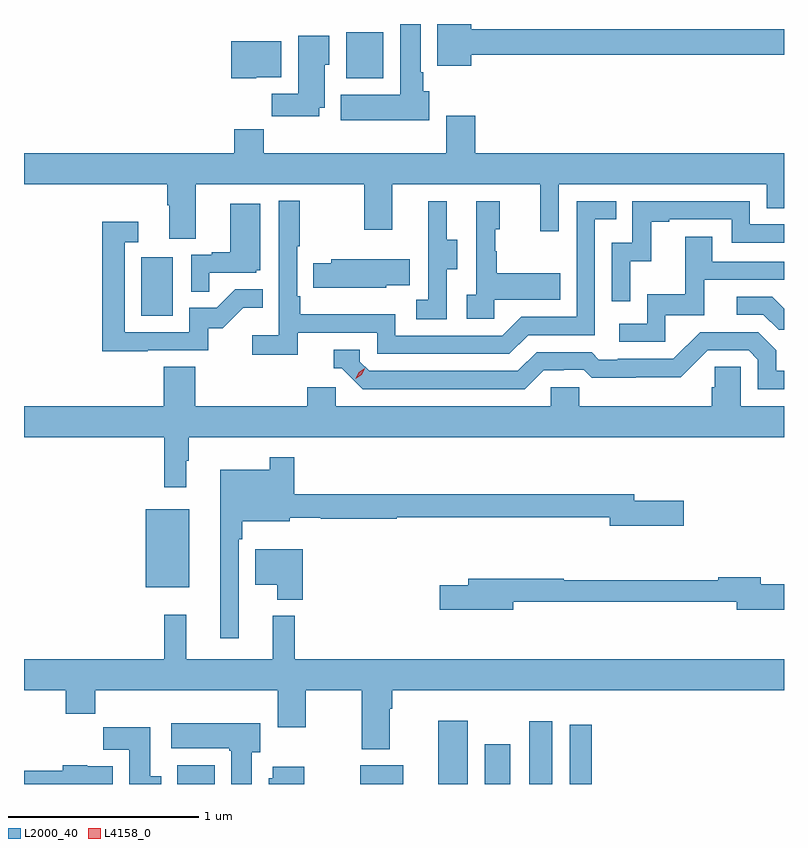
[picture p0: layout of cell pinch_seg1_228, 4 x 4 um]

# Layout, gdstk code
import gdstk
lib = gdstk.Library(unit=1e-6, precision=1e-09)
def R(c, l, rs):  # rectangles x0, y0, x1, y1
    for r in rs: c.add(gdstk.rectangle(r[:2], r[2:], *l))
def P(c, l, *ps):  # polygons
    for p in ps: c.add(gdstk.Polygon(p, *l))
L2000_40 = (2000, 40)
L4158_0 = (4158, 0)

pinch_seg1_228 = lib.new_cell('pinch_seg1_228')
R(pinch_seg1_228, L2000_40, [(964.709,565.891,964.906,565.99), (965.672,565.891,965.899,565.99), (966.083,565.891,966.238,566.224), (966.326,565.891,966.46,566.101), (966.56,565.891,966.682,566.221), (966.774,565.891,966.89,566.203), (964.544,566.927,964.771,567.337), (964.52,568.356,964.684,568.663), (965.597,569.606,965.794,569.848)])
P(pinch_seg1_228, L2000_40, [(966.034,569.538),(966.004,569.538),(966.004,569.638),(965.989,569.638),(965.989,569.891),(965.882,569.891),(965.882,569.518),(965.57,569.518),(965.57,569.384),(966.034,569.384)],
  [(966.256,569.728),(967.902,569.728),(967.902,569.864),(966.256,569.864),(966.256,569.891),(966.077,569.891),(966.077,569.672),(966.256,569.672)],
  [(965.455,569.45),(965.485,569.45),(965.485,569.676),(965.509,569.676),(965.509,569.83),(965.345,569.83),(965.345,569.524),(965.206,569.524),(965.206,569.406),(965.455,569.406)],
  [(965.124,569.612),(965.257,569.612),(965.257,569.8),(964.994,569.8),(964.994,569.606),(965.124,569.606)],
  [(965.165,569.336),(965.009,569.336),(965.009,569.212),(963.902,569.212),(963.902,569.048),(964.655,569.048),(964.655,568.936),(964.667,568.936),(964.667,568.762),(964.807,568.762),(964.807,569.048),(965.692,569.048),(965.692,568.809),(965.839,568.809),(965.839,569.048),(966.62,569.048),(966.62,568.8),(966.717,568.8),(966.717,569.048),(967.812,569.048),(967.812,568.921),(967.902,568.921),(967.902,569.212),(966.278,569.212),(966.278,569.407),(966.125,569.407),(966.125,569.212),(965.165,569.212)],
  [(965.342,568.266),(965.76,568.266),(965.76,568.155),(966.457,568.155),(966.556,568.254),(966.906,568.254),(966.906,568.863),(967.019,568.863),(967.019,568.959),(966.81,568.959),(966.81,568.35),(966.519,568.35),(966.42,568.251),(965.856,568.251),(965.856,568.363),(965.357,568.363),(965.357,568.459),(965.34,568.459),(965.34,568.72),(965.353,568.72),(965.353,568.96),(965.244,568.96),(965.244,568.252),(965.103,568.252),(965.103,568.15),(965.342,568.15)],
  [(967.092,568.643),(967.202,568.643),(967.202,568.851),(967.297,568.851),(967.297,568.863),(967.626,568.863),(967.626,568.74),(967.902,568.74),(967.902,568.836),(967.722,568.836),(967.722,568.959),(967.104,568.959),(967.104,568.74),(966.996,568.74),(966.996,568.431),(967.092,568.431)],
  [(966.126,568.6),(966.181,568.6),(966.181,568.755),(966.127,568.755),(966.127,568.957),(966.029,568.957),(966.029,568.743),(966.03,568.743),(966.03,568.439),(965.967,568.439),(965.967,568.336),(966.126,568.336)],
  [(966.378,568.439),(966.725,568.439),(966.725,568.579),(966.391,568.579),(966.391,568.694),(966.381,568.694),(966.381,568.812),(966.406,568.812),(966.406,568.957),(966.282,568.957),(966.282,568.466),(966.231,568.466),(966.231,568.341),(966.378,568.341)],
  [(964.877,568.581),(965.124,568.581),(965.124,568.596),(965.146,568.596),(965.146,568.945),(964.988,568.945),(964.988,568.69),(964.889,568.69),(964.889,568.677),(964.782,568.677),(964.782,568.483),(964.877,568.483)],
  [(964.553,568.173),(964.872,568.173),(964.872,568.29),(964.948,568.29),(965.055,568.397),(965.159,568.397),(965.159,568.496),(965.015,568.496),(964.917,568.398),(964.773,568.398),(964.773,568.269),(964.431,568.269),(964.431,568.743),(964.504,568.743),(964.504,568.849),(964.315,568.849),(964.315,568.168),(964.553,568.168)],
  [(967.278,568.359),(967.483,568.359),(967.483,568.545),(967.902,568.545),(967.902,568.641),(967.525,568.641),(967.525,568.771),(967.381,568.771),(967.381,568.468),(967.182,568.468),(967.182,568.314),(967.035,568.314),(967.035,568.218),(967.278,568.218)],
  [(965.808,568.517),(965.933,568.517),(965.933,568.654),(965.519,568.654),(965.519,568.632),(965.425,568.632),(965.425,568.503),(965.536,568.503),(965.536,568.502),(965.808,568.502)],
  [(967.902,568.393),(967.84,568.455),(967.653,568.455),(967.653,568.362),(967.794,568.362),(967.874,568.282),(967.902,568.282)],
  [(966.637,568.068),(966.744,568.068),(966.744,568.071),(966.847,568.071),(966.889,568.029),(967.122,568.029),(967.122,568.031),(967.358,568.031),(967.5,568.173),(967.716,568.173),(967.764,568.125),(967.764,567.969),(967.902,567.969),(967.902,568.065),(967.861,568.065),(967.861,568.175),(967.767,568.269),(967.461,568.269),(967.32,568.128),(967.027,568.128),(967.027,568.125),(966.928,568.125),(966.889,568.164),(966.6,568.164),(966.501,568.065),(965.718,568.065),(965.67,568.113),(965.67,568.176),(965.531,568.176),(965.531,568.08),(965.574,568.08),(965.685,567.969),(966.538,567.969)],
  [(964.756,567.593),(964.768,567.593),(964.768,567.716),(967.902,567.716),(967.902,567.88),(967.674,567.88),(967.674,568.088),(967.537,568.088),(967.537,567.978),(967.523,567.978),(967.523,567.88),(966.825,567.88),(966.825,567.978),(966.675,567.978),(966.675,567.88),(965.544,567.88),(965.544,567.978),(965.393,567.978),(965.393,567.88),(964.802,567.88),(964.802,568.088),(964.637,568.088),(964.637,567.88),(963.902,567.88),(963.902,567.716),(964.639,567.716),(964.639,567.453),(964.756,567.453)],
  [(965.031,567.179),(965.051,567.179),(965.051,567.275),(965.301,567.275),(965.301,567.293),(965.464,567.293),(965.464,567.286),(965.864,567.286),(965.864,567.294),(966.986,567.294),(966.986,567.251),(967.375,567.251),(967.375,567.381),(967.114,567.381),(967.114,567.415),(965.324,567.415),(965.324,567.61),(965.196,567.61),(965.196,567.544),(964.934,567.544),(964.934,566.658),(965.031,566.658)],
  [(965.369,567.127),(965.12,567.127),(965.12,566.939),(965.234,566.939),(965.234,566.861),(965.369,566.861)],
  [(966.478,566.85),(967.652,566.85),(967.652,566.807),(967.902,566.807),(967.902,566.942),(967.78,566.942),(967.78,566.978),(967.556,566.978),(967.556,566.963),(966.743,566.963),(966.743,566.971),(966.239,566.971),(966.239,566.937),(966.09,566.937),(966.09,566.807),(966.478,566.807)],
  [(965.827,566.288),(965.84,566.288),(965.84,566.384),(967.902,566.384),(967.902,566.548),(965.327,566.548),(965.327,566.776),(965.21,566.776),(965.21,566.548),(964.757,566.548),(964.757,566.782),(964.639,566.782),(964.639,566.548),(963.902,566.548),(963.902,566.384),(964.121,566.384),(964.121,566.26),(964.277,566.26),(964.277,566.384),(965.237,566.384),(965.237,566.19),(965.385,566.19),(965.385,566.384),(965.68,566.384),(965.68,566.075),(965.827,566.075)],
  [(965.101,566.058),(965.146,566.058),(965.146,566.212),(964.677,566.212),(964.677,566.078),(964.981,566.078),(964.981,566.065),(964.994,566.065),(964.994,565.891),(965.101,565.891)],
  [(964.624,565.932),(964.567,565.932),(964.567,566.191),(964.318,566.191),(964.318,566.072),(964.457,566.072),(964.457,565.891),(964.624,565.891)],
  [(964.369,565.984),(964.236,565.984),(964.236,565.99),(964.106,565.99),(964.106,565.962),(963.902,565.962),(963.902,565.891),(964.369,565.891)],
  [(965.376,565.981),(965.21,565.981),(965.21,565.92),(965.189,565.92),(965.189,565.891),(965.376,565.891)])
P(pinch_seg1_228, L4158_0, [(965.649,568.025),(965.649,568.025),(965.665,568.058),(965.695,568.078),(965.695,568.078),(965.695,568.078),(965.68,568.045),(965.649,568.025)])

lib.write_gds('pinch_seg1_228.gds')
